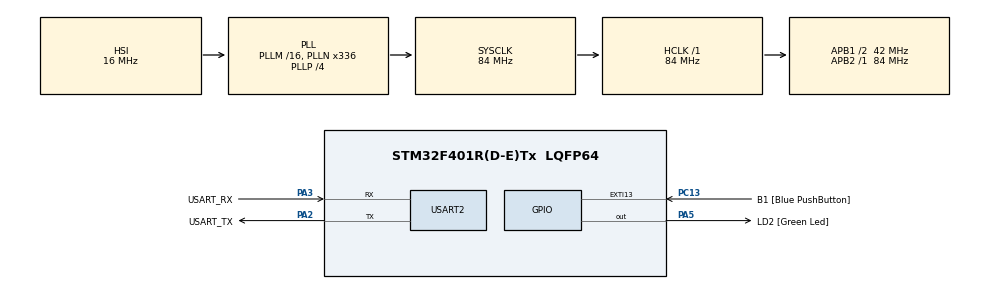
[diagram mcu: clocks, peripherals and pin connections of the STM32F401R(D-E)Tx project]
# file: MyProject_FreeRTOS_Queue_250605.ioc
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FREERTOS.Tasks01=defaultTask,24,128,StartDefaultTask,Default,NULL,Dynamic,NULL,NULL
Mcu.Family=STM32F4
Mcu.Name=STM32F401R(D-E)Tx
Mcu.Package=LQFP64
NVIC.PriorityGroup=NVIC_PRIORITYGROUP_4
PA13.GPIO_Label=TMS
PA13.Mode=Trace_Asynchronous_SW
PA13.Signal=SYS_JTMS-SWDIO
PA14.GPIO_Label=TCK
PA14.Mode=Trace_Asynchronous_SW
PA14.Signal=SYS_JTCK-SWCLK
PA2.GPIO_Label=USART_TX
PA2.GPIO_Mode=GPIO_MODE_AF_PP
PA2.GPIO_PuPd=GPIO_NOPULL
PA2.GPIO_Speed=GPIO_SPEED_FREQ_LOW
PA2.Mode=Asynchronous
PA2.Signal=USART2_TX
PA3.GPIO_Label=USART_RX
PA3.GPIO_Mode=GPIO_MODE_AF_PP
PA3.GPIO_PuPd=GPIO_NOPULL
PA3.GPIO_Speed=GPIO_SPEED_FREQ_LOW
PA3.Mode=Asynchronous
PA3.Signal=USART2_RX
PA5.GPIO_Label=LD2 [Green Led]
PA5.GPIO_Mode=GPIO_MODE_OUTPUT_PP
PA5.GPIO_PuPd=GPIO_NOPULL
PA5.GPIO_Speed=GPIO_SPEED_FREQ_LOW
PA5.Signal=GPIO_Output
PB3.GPIO_Label=SWO
PB3.Mode=Trace_Asynchronous_SW
PB3.Signal=SYS_JTDO-SWO
PC13-ANTI_TAMP.GPIO_Label=B1 [Blue PushButton]
PC13-ANTI_TAMP.GPIO_ModeDefaultEXTI=GPIO_MODE_IT_FALLING
PC13-ANTI_TAMP.GPIO_PuPd=GPIO_NOPULL
PC13-ANTI_TAMP.Signal=GPXTI13
PC14-OSC32_IN.Mode=LSE-External-Oscillator
PC14-OSC32_IN.Signal=RCC_OSC32_IN
PC15-OSC32_OUT.Mode=LSE-External-Oscillator
PC15-OSC32_OUT.Signal=RCC_OSC32_OUT
PH0\ -\ OSC_IN.Mode=HSE-External-Clock-Source
PH0\ -\ OSC_IN.Signal=RCC_OSC_IN
PH1\ -\ OSC_OUT.Mode=HSE-External-Clock-Source
PH1\ -\ OSC_OUT.Signal=RCC_OSC_OUT
ProjectManager.HeapSize=0x200
ProjectManager.StackSize=0x400
ProjectManager.TargetToolchain=STM32CubeIDE
RCC.48MHZClocksFreq_Value=48000000
RCC.AHBFreq_Value=84000000
RCC.APB1CLKDivider=RCC_HCLK_DIV2
RCC.APB1Freq_Value=42000000
RCC.APB1TimFreq_Value=84000000
RCC.APB2Freq_Value=84000000
RCC.APB2TimFreq_Value=84000000
RCC.CortexFreq_Value=84000000
RCC.HCLKFreq_Value=84000000
RCC.HSE_VALUE=8000000
RCC.HSI_VALUE=16000000
RCC.PLLN=336
RCC.PLLP=RCC_PLLP_DIV4
RCC.PLLQ=7
RCC.SYSCLKFreq_VALUE=84000000
RCC.SYSCLKSource=RCC_SYSCLKSOURCE_PLLCLK
RCC.VCOOutputFreq_Value=336000000
USART2.VirtualMode=VM_ASYNC
VP_FREERTOS_VS_CMSIS_V2.Mode=CMSIS_V2
board=NUCLEO-F401RE

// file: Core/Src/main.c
/* USER CODE BEGIN Header */
/**
  ******************************************************************************
  * @file           : main.c
  * @brief          : Main program body
  ******************************************************************************
  * @attention
  *
  * Copyright (c) 2025 STMicroelectronics.
  * All rights reserved.
  *
  * This software is licensed under terms that can be found in the LICENSE file
  * in the root directory of this software component.
  * If no LICENSE file comes with this software, it is provided AS-IS.
  *
  ******************************************************************************
  */
/* USER CODE END Header */
#include "main.h"
#include "cmsis_os.h"

/* USER CODE BEGIN Includes */
#include <stdio.h>  // sprintf 함수를 사용하기 위해 추가
#include <string.h>  // strlen 함수를 사용하기 위해 추가
/* USER CODE END Includes */

UART_HandleTypeDef huart2;

/* Definitions for defaultTask */
osThreadId_t defaultTaskHandle;
const osThreadAttr_t defaultTask_attributes = {
  .name = "defaultTask",
  .stack_size = 128 * 4,
  .priority = (osPriority_t) osPriorityNormal,
};
/* USER CODE BEGIN PV */
osMessageQueueId_t ledCmdQueueHandle; // LED 제어 명령을 위한 큐 핸들
/* USER CODE END PV */

void SystemClock_Config(void);
static void MX_GPIO_Init(void);
static void MX_USART2_UART_Init(void);
void StartDefaultTask(void *argument);

/* USER CODE BEGIN PFP */
void StartDefaultTask(void *argument); // 이 줄은 그대로 두거나, CubeMX가 관리합니다.
// void LedBlinkTask(void *argument); // 주석 처리
// void SerialPrintTask(void *argument); // 주석 처리
void LedControlTask(void *argument);  // LED 제어 작업 함수 원형
void DataSenderTask(void *argument);  // 데이터 전송 작업 함수 원형
/* USER CODE END PFP */

/* USER CODE BEGIN 0 */
// 데이터 전송 작업 함수 (새로 추가)
void DataSenderTask(void *argument)
{
  uint32_t command_to_send = 0; // 전송할 명령 (0 또는 1)
  osStatus_t status;

  for(;;)
  {
    command_to_send = 1 - command_to_send; // 0과 1을 번갈아 보냄
    // ledCmdQueueHandle 큐에 command_to_send 값을 넣습니다.
    // 0U: 메시지 우선순위 없음
    // 100: 100ms 타임아웃 (큐가 꽉 차 있으면 100ms 기다림)
    status = osMessageQueuePut(ledCmdQueueHandle, &command_to_send, 0U, 100);

    if (status != osOK)
    {
      // 큐에 메시지를 넣지 못했을 경우 (예: 큐가 꽉 참) 오류 처리 (지금은 생략)
    }
    osDelay(2000); // 2초마다 새로운 명령 전송
  }
}
// LED 제어 작업 함수 (기존 LedBlinkTask에서 이름 변경 및 내용 수정)
void LedControlTask(void *argument)
{
  uint32_t received_command; // 큐에서 받은 명령을 저장할 변수
  osStatus_t status;
  uint32_t current_blink_delay = 500; // 기본 깜빡임 지연 시간 (0.5초)

  for(;;)
  {
    // ledCmdQueueHandle 큐에서 메시지를 기다립니다.
    // &received_command: 받은 메시지를 저장할 변수의 주소
    // NULL: 메시지 우선순위는 신경 쓰지 않음
    // osWaitForever: 메시지가 올 때까지 무한정 기다림
    status = osMessageQueueGet(ledCmdQueueHandle, &received_command, NULL, 0U);

    if (status == osOK) // 메시지를 성공적으로 받았다면
    {
      if (received_command == 1)
      {
        current_blink_delay = 100; // 명령이 1이면 0.1초 (빠르게)
      }
      else // 명령이 0이면
      {
        current_blink_delay = 1000; // 1초 (느리게)
      }
    }
    HAL_GPIO_TogglePin(GPIOA, GPIO_PIN_5); // LD2 LED 토글 (기존 코드와 동일)
    osDelay(current_blink_delay); // 계산된 지연 시간만큼 대기
  }
}

/*
// LED 깜빡이는 작업을 수행할 함수
void LedBlinkTask(void *argument)
{
  for(;;) // 무한 루프
  {
    HAL_GPIO_TogglePin(GPIOA, GPIO_PIN_5); // NUCLEO-F401RE의 LD2 LED (녹색) 토글
    osDelay(100);                         // 0.1초 동안 작업 지연 (RTOS 방식)
  }
}
*/

// 시리얼 포트로 메시지를 출력하는 작업을 수행할 함수

/*
// void SerialPrintTask(void *argument)
{
  uint32_t counter = 0;
  char msg_buffer[50];

  for(;;) // 무한 루프
  {
    sprintf(msg_buffer, "Task 2! Count: %lu\r\n", counter++); // 메시지 만들기

    // UART(USART2)를 통해 메시지 전송
    // huart2 핸들은 main.c 상단 또는 main.h에 선언되어 있어야 하며, MX_USART2_UART_Init()에서 초기화됩니다.
    // CubeMX 설정 시 USART2를 활성화했다면 자동으로 생성됩니다.
    HAL_UART_Transmit(&huart2, (uint8_t*)msg_buffer, strlen(msg_buffer), 100); // 100ms 타임아웃

    osDelay(1000); // 1초(1000ms) 간격으로 메시지 전송
  }
}
*/

/* USER CODE END 0 */

int main(void)
{

  /* MCU Configuration--------------------------------------------------------*/

  /* Reset of all peripherals, Initializes the Flash interface and the Systick. */
  HAL_Init();

  /* Configure the system clock */
  SystemClock_Config();

  /* Initialize all configured peripherals */
  MX_GPIO_Init();
  MX_USART2_UART_Init();

  /* Init scheduler */
  osKernelInitialize();

  /* USER CODE BEGIN RTOS_QUEUES */
  /* add queues, ... */
  // 큐 생성: 최대 5개의 uint32_t 타입 메시지를 담을 수 있는 큐
  ledCmdQueueHandle = osMessageQueueNew(5, sizeof(uint32_t), NULL);
  if (ledCmdQueueHandle == NULL)
  {
    Error_Handler(); // 큐 생성 실패 시 오류 처리
  }
    /* USER CODE END RTOS_QUEUES */

  /* Create the thread(s) */
  /* creation of defaultTask */
  defaultTaskHandle = osThreadNew(StartDefaultTask, NULL, &defaultTask_attributes);

  /* USER CODE BEGIN RTOS_THREADS */
  /* add threads, ... */

  // LedBlinkTask를 위한 속성 정의 및 생성
  const osThreadAttr_t ledControlTask_attributes = {
    .name = "LedControl",
    .stack_size = 128 * 4, // 512 바이트
    .priority = (osPriority_t) osPriorityNormal,
  };
  osThreadNew(LedControlTask, NULL, &ledControlTask_attributes);

  // DataSenderTask를 위한 속성 정의 및 생성
  const osThreadAttr_t dataSenderTask_attributes = {
    .name = "DataSender",
    .stack_size = 128 * 4, // sprintf 등을 사용하므로 충분히 할당 (512 바이트)
    .priority = (osPriority_t) osPriorityNormal,
  };
  osThreadNew(DataSenderTask, NULL, &dataSenderTask_attributes);

  /* USER CODE END RTOS_THREADS */

  /* Start scheduler */
  osKernelStart();

  /* We should never get here as control is now taken by the scheduler */

  /* Infinite loop */
  while (1)
  {

  }
}

void SystemClock_Config(void)
{
  RCC_OscInitTypeDef RCC_OscInitStruct = {0};
  RCC_ClkInitTypeDef RCC_ClkInitStruct = {0};

  /** Configure the main internal regulator output voltage
  */
  __HAL_RCC_PWR_CLK_ENABLE();
  __HAL_PWR_VOLTAGESCALING_CONFIG(PWR_REGULATOR_VOLTAGE_SCALE2);

  /** Initializes the RCC Oscillators according to the specified parameters
  * in the RCC_OscInitTypeDef structure.
  */
  RCC_OscInitStruct.OscillatorType = RCC_OSCILLATORTYPE_HSI;
  RCC_OscInitStruct.HSIState = RCC_HSI_ON;
  RCC_OscInitStruct.HSICalibrationValue = RCC_HSICALIBRATION_DEFAULT;
  RCC_OscInitStruct.PLL.PLLState = RCC_PLL_ON;
  RCC_OscInitStruct.PLL.PLLSource = RCC_PLLSOURCE_HSI;
  RCC_OscInitStruct.PLL.PLLM = 16;
  RCC_OscInitStruct.PLL.PLLN = 336;
  RCC_OscInitStruct.PLL.PLLP = RCC_PLLP_DIV4;
  RCC_OscInitStruct.PLL.PLLQ = 7;
  if (HAL_RCC_OscConfig(&RCC_OscInitStruct) != HAL_OK)
  {
    Error_Handler();
  }

  /** Initializes the CPU, AHB and APB buses clocks
  */
  RCC_ClkInitStruct.ClockType = RCC_CLOCKTYPE_HCLK|RCC_CLOCKTYPE_SYSCLK
                              |RCC_CLOCKTYPE_PCLK1|RCC_CLOCKTYPE_PCLK2;
  RCC_ClkInitStruct.SYSCLKSource = RCC_SYSCLKSOURCE_PLLCLK;
  RCC_ClkInitStruct.AHBCLKDivider = RCC_SYSCLK_DIV1;
  RCC_ClkInitStruct.APB1CLKDivider = RCC_HCLK_DIV2;
  RCC_ClkInitStruct.APB2CLKDivider = RCC_HCLK_DIV1;

  if (HAL_RCC_ClockConfig(&RCC_ClkInitStruct, FLASH_LATENCY_2) != HAL_OK)
  {
    Error_Handler();
  }
}

static void MX_USART2_UART_Init(void)
{

  huart2.Instance = USART2;
  huart2.Init.BaudRate = 115200;
  huart2.Init.WordLength = UART_WORDLENGTH_8B;
  huart2.Init.StopBits = UART_STOPBITS_1;
  huart2.Init.Parity = UART_PARITY_NONE;
  huart2.Init.Mode = UART_MODE_TX_RX;
  huart2.Init.HwFlowCtl = UART_HWCONTROL_NONE;
  huart2.Init.OverSampling = UART_OVERSAMPLING_16;
  if (HAL_UART_Init(&huart2) != HAL_OK)
  {
    Error_Handler();
  }

}

static void MX_GPIO_Init(void)
{
  GPIO_InitTypeDef GPIO_InitStruct = {0};

  /* GPIO Ports Clock Enable */
  __HAL_RCC_GPIOC_CLK_ENABLE();
  __HAL_RCC_GPIOH_CLK_ENABLE();
  __HAL_RCC_GPIOA_CLK_ENABLE();
  __HAL_RCC_GPIOB_CLK_ENABLE();

  /*Configure GPIO pin Output Level */
  HAL_GPIO_WritePin(LD2_GPIO_Port, LD2_Pin, GPIO_PIN_RESET);

  /*Configure GPIO pin : B1_Pin */
  GPIO_InitStruct.Pin = B1_Pin;
  GPIO_InitStruct.Mode = GPIO_MODE_IT_FALLING;
  GPIO_InitStruct.Pull = GPIO_NOPULL;
  HAL_GPIO_Init(B1_GPIO_Port, &GPIO_InitStruct);

  /*Configure GPIO pin : LD2_Pin */
  GPIO_InitStruct.Pin = LD2_Pin;
  GPIO_InitStruct.Mode = GPIO_MODE_OUTPUT_PP;
  GPIO_InitStruct.Pull = GPIO_NOPULL;
  GPIO_InitStruct.Speed = GPIO_SPEED_FREQ_LOW;
  HAL_GPIO_Init(LD2_GPIO_Port, &GPIO_InitStruct);

}

void StartDefaultTask(void *argument)
{
  for(;;)
  {
    osDelay(1);
  }
}

void Error_Handler(void)
{
  __disable_irq();
  while (1)
  {
  }
}
